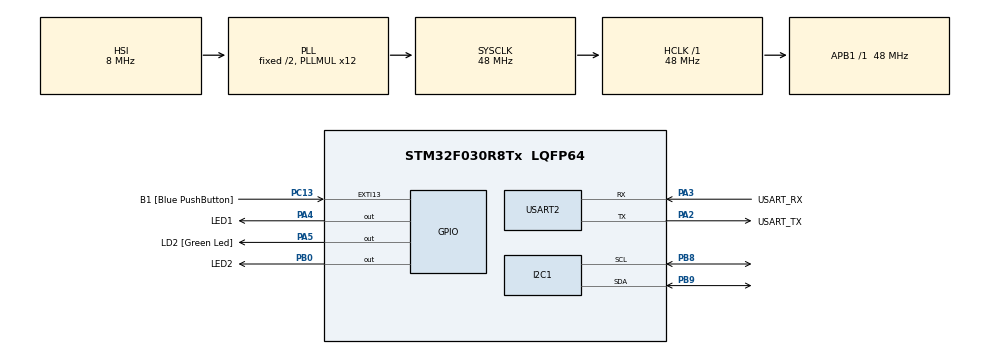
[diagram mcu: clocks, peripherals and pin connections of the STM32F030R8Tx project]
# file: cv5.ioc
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Dma.Request0=USART2_RX
Dma.USART2_RX.0.Direction=DMA_PERIPH_TO_MEMORY
Dma.USART2_RX.0.Instance=DMA1_Channel5
Dma.USART2_RX.0.MemDataAlignment=DMA_MDATAALIGN_BYTE
Dma.USART2_RX.0.MemInc=DMA_MINC_ENABLE
Dma.USART2_RX.0.Mode=DMA_CIRCULAR
Dma.USART2_RX.0.PeriphDataAlignment=DMA_PDATAALIGN_BYTE
Dma.USART2_RX.0.PeriphInc=DMA_PINC_DISABLE
Dma.USART2_RX.0.Priority=DMA_PRIORITY_LOW
I2C1.Timing=0x00201D2B
Mcu.Family=STM32F0
Mcu.Name=STM32F030R8Tx
Mcu.Package=LQFP64
NVIC.DMA1_Channel4_5_IRQn=true\:0\:0\:false\:false\:true\:false\:true\:true
PA13.GPIO_Label=TMS
PA13.Mode=Serial_Wire
PA13.Signal=SYS_SWDIO
PA14.GPIO_Label=TCK
PA14.Mode=Serial_Wire
PA14.Signal=SYS_SWCLK
PA2.GPIO_Label=USART_TX
PA2.GPIO_Mode=GPIO_MODE_AF_PP
PA2.GPIO_PuPd=GPIO_NOPULL
PA2.GPIO_Speed=GPIO_SPEED_FREQ_LOW
PA2.Mode=Asynchronous
PA2.Signal=USART2_TX
PA3.GPIO_Label=USART_RX
PA3.GPIO_Mode=GPIO_MODE_AF_PP
PA3.GPIO_PuPd=GPIO_NOPULL
PA3.GPIO_Speed=GPIO_SPEED_FREQ_LOW
PA3.Mode=Asynchronous
PA3.Signal=USART2_RX
PA4.GPIO_Label=LED1
PA4.Signal=GPIO_Output
PA5.GPIO_Label=LD2 [Green Led]
PA5.GPIO_Mode=GPIO_MODE_OUTPUT_PP
PA5.GPIO_PuPd=GPIO_NOPULL
PA5.GPIO_Speed=GPIO_SPEED_FREQ_LOW
PA5.Signal=GPIO_Output
PB0.GPIO_Label=LED2
PB0.Signal=GPIO_Output
PB8.Mode=I2C
PB8.Signal=I2C1_SCL
PB9.Mode=I2C
PB9.Signal=I2C1_SDA
PC13.GPIO_Label=B1 [Blue PushButton]
PC13.GPIO_ModeDefaultEXTI=GPIO_MODE_IT_FALLING
PC13.Signal=GPXTI13
PC14-OSC32_IN.Mode=LSE-External-Oscillator
PC14-OSC32_IN.Signal=RCC_OSC32_IN
PC15-OSC32_OUT.Mode=LSE-External-Oscillator
PC15-OSC32_OUT.Signal=RCC_OSC32_OUT
PF0-OSC_IN.Mode=HSE-External-Clock-Source
PF0-OSC_IN.Signal=RCC_OSC_IN
PF1-OSC_OUT.Signal=RCC_OSC_OUT
ProjectManager.HeapSize=0x200
ProjectManager.StackSize=0x400
ProjectManager.TargetToolchain=STM32CubeIDE
RCC.AHBFreq_Value=48000000
RCC.APB1Freq_Value=48000000
RCC.APB1TimFreq_Value=48000000
RCC.HCLKFreq_Value=48000000
RCC.PLLMUL=RCC_PLL_MUL12
RCC.SYSCLKFreq_VALUE=48000000
RCC.SYSCLKSource=RCC_SYSCLKSOURCE_PLLCLK
USART2.VirtualMode-Asynchronous=VM_ASYNC
board=NUCLEO-F030R8

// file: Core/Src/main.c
/* USER CODE BEGIN Header */
/**
  ******************************************************************************
  * @file           : main.c
  * @brief          : Main program body
  ******************************************************************************
  * @attention
  *
  * Copyright (c) 2024 STMicroelectronics.
  * All rights reserved.
  *
  * This software is licensed under terms that can be found in the LICENSE file
  * in the root directory of this software component.
  * If no LICENSE file comes with this software, it is provided AS-IS.
  *
  ******************************************************************************
  */
/* USER CODE END Header */
#include "main.h"

/* USER CODE BEGIN Includes */
#include <stdio.h>
#include <stdlib.h>
#include <string.h>
/* USER CODE END Includes */

/* USER CODE BEGIN PD */
#define RX_BUFFER_LEN 64
#define uart_rx_write_ptr (RX_BUFFER_LEN - hdma_usart2_rx.Instance->CNDTR)
#define CMD_BUFFER_LEN 256
#define EEPROM_ADDR 0xA0
//#define I2C_MEMADD_SIZE_16BIT
/* USER CODE END PD */

I2C_HandleTypeDef hi2c1;

UART_HandleTypeDef huart2;
DMA_HandleTypeDef hdma_usart2_rx;

/* USER CODE BEGIN PV */
static uint8_t uart_rx_buf[RX_BUFFER_LEN];
static volatile uint16_t uart_rx_read_ptr = 0;
//#define uart_rx_write_ptr (RX_BUFFER_LEN - hdma_usart2_rx.Instance->CNDTR)
/* USER CODE END PV */

void SystemClock_Config(void);
static void MX_GPIO_Init(void);
static void MX_DMA_Init(void);
static void MX_USART2_UART_Init(void);
static void MX_I2C1_Init(void);

/* USER CODE BEGIN 0 */
int _write(int file, char const *buf, int n)
{
	/* stdout redirection to UART2 */
	HAL_UART_Transmit(&huart2, (uint8_t*)(buf), n, HAL_MAX_DELAY);
	return n;
}

static void uart_process_command(char *cmd)
{
	static uint8_t value;
	static uint16_t addr = 2;
	char *token;
	token = strtok(cmd, " ");
	if (strcasecmp(token, "HELLO") == 0)
	{
		printf("Ahoj sjete!\n");
	}
	else if (strcasecmp(token, "LED1") == 0)
	{
		token = strtok(NULL, " ");
		if(strcasecmp(token, "ON")==0)
		{
			HAL_GPIO_WritePin(LED1_GPIO_Port, LED1_Pin, GPIO_PIN_SET);
		}
		else if(strcasecmp(token, "OFF")==0)
		{
			HAL_GPIO_WritePin(LED1_GPIO_Port, LED1_Pin, GPIO_PIN_RESET);
		}
		printf("OK\n");
	}
	else if (strcasecmp(token, "LED2") == 0)
	{
		token = strtok(NULL, " ");
		if(strcasecmp(token, "ON")==0)
		{
			HAL_GPIO_WritePin(LED2_GPIO_Port, LED2_Pin, GPIO_PIN_SET);
		}
		else if(strcasecmp(token, "OFF")==0)
		{
			HAL_GPIO_WritePin(LED2_GPIO_Port, LED2_Pin, GPIO_PIN_RESET);
		}
		printf("OK\n");
	}
	else if (strcasecmp(token, "STATUS") == 0)
	{
		token = strtok(NULL, " ");

		if(HAL_GPIO_ReadPin(LED1_GPIO_Port, LED1_Pin)==0)
		printf("LED1 OFF\n");
		else if(HAL_GPIO_ReadPin(LED1_GPIO_Port, LED1_Pin)==1)
		printf("LED1 ON\n");
		if(HAL_GPIO_ReadPin(LED2_GPIO_Port, LED2_Pin)==0)
		printf("LED2 OFF\n");
		else if(HAL_GPIO_ReadPin(LED2_GPIO_Port, LED2_Pin)==1)
		printf("LED2 ON\n");
	}
	/*else if (strcasecmp(token, "STATUS") == 0)
	{
		token = strtok(NULL, " ");

		if(HAL_GPIO_ReadPin(LED1_GPIO_Port, LED1_Pin)==0)
		printf("LED1 OFF\n");
		else if(HAL_GPIO_ReadPin(LED1_GPIO_Port, LED1_Pin)==1)
		printf("LED1 ON\n");
		if(HAL_GPIO_ReadPin(LED2_GPIO_Port, LED2_Pin)==0)
		printf("LED2 OFF\n");
		else if(HAL_GPIO_ReadPin(LED2_GPIO_Port, LED2_Pin)==1)
		printf("LED2 ON\n");
	}*/ //zapisovat hodnotu po hodnote
	else if (strcasecmp(token, "WRITE")==0)
	{
		token = strtok(NULL, " ");
		addr = atoi(token);
		token = strtok(NULL, " ");
		value = atoi(token);
		HAL_I2C_Mem_Write(&hi2c1, EEPROM_ADDR, addr, I2C_MEMADD_SIZE_16BIT, &value, sizeof(value), 1000);
		while (HAL_I2C_IsDeviceReady(&hi2c1, EEPROM_ADDR, 300, 1000) == HAL_TIMEOUT) {}
		printf("Zapsano: 0x%02X = 0x%02X\n", addr, value);
	}
	else if (strcasecmp(token, "READ")==0)
	{
		token = strtok(NULL, " ");
		addr = atoi(token);
		//char[20] read = HAL_I2C_Mem_Read(&hi2c1, EEPROM_ADDR, addr, I2C_MEMADD_SIZE_16BIT, &value, 1, 1000);
		HAL_I2C_Mem_Read(&hi2c1, EEPROM_ADDR, addr, I2C_MEMADD_SIZE_16BIT, &value, sizeof(value), 1000); //sizeof(value), timeout
		//printf("Ive read: %s\n", value);
		printf("Addr: 0x%02X = 0x%02X\n", addr, value);
	}
	else if (strcasecmp(token, "VYPIS")==0)
	{
		printf("Adresa: %d\n",addr);
	}
	else if (strcasecmp(token, "DUMP")==0)
	{
		for(uint8_t a = 0; a<16; a+=8) //kolik radku printnout = 16/8 = 2
		{
			for(uint8_t i = 0; i<8; i++) //kolik znaku printnout
			{
				HAL_I2C_Mem_Read(&hi2c1, EEPROM_ADDR, i+a, I2C_MEMADD_SIZE_16BIT, &value, sizeof(value), 1000); //sizeof(value), timeout
				printf("%02X ", value);
			}
			printf("\n");
		}//0 1  2  3  4  5  6  7
		 //8 9 10 11 12 13 14 15

	}
	/*//		token = strtok(NULL, " ");
	if(strcasecmp(token, "ON") == 0)
	{
		HAL_GPIO_WritePin(LED1_GPIO_Port, LED1_Pin, GPIO_PIN_SET);
	}
	else if(strcasecmp(token, "OFF")
	{

	}*/

	//printf("prijato: '%s'\n", cmd);
}

static void uart_byte_available(uint8_t c)
{
	static uint16_t cnt;
	static char data[CMD_BUFFER_LEN];
	if (cnt < CMD_BUFFER_LEN && c >= 32 && c <= 126) data[cnt++] = c; //jen citelne znaky 32 = 0 az z = 126

	if ((c == '\n' || c == '\r') && cnt > 0) // \n je odradkovani; \r - nektere mikrokontrolery ctou jenom jeden ze znaku
	{
		data[cnt] = '\0'; //zakoncit nulou
		uart_process_command(data);
		cnt = 0;
	}
}

/* USER CODE END 0 */

int main(void)
{

  /* MCU Configuration--------------------------------------------------------*/

  /* Reset of all peripherals, Initializes the Flash interface and the Systick. */
  HAL_Init();

  /* Configure the system clock */
  SystemClock_Config();

  /* Initialize all configured peripherals */
  MX_GPIO_Init();
  MX_DMA_Init();
  MX_USART2_UART_Init();
  MX_I2C1_Init();
  /* USER CODE BEGIN 2 */
  HAL_UART_Receive_DMA(&huart2, uart_rx_buf, RX_BUFFER_LEN);
  /* USER CODE END 2 */

  /* Infinite loop */
  while (1)
  {

    /* USER CODE BEGIN 3 */
	  while (uart_rx_read_ptr != uart_rx_write_ptr)
	  {
		  uint8_t b = uart_rx_buf[uart_rx_read_ptr];
		  if (++uart_rx_read_ptr >= RX_BUFFER_LEN) uart_rx_read_ptr = 0; // increase read pointer

		  uart_byte_available(b); // process every received byte with the RX state machine
	  }
  }
  /* USER CODE END 3 */
}

void SystemClock_Config(void)
{
  RCC_OscInitTypeDef RCC_OscInitStruct = {0};
  RCC_ClkInitTypeDef RCC_ClkInitStruct = {0};
  RCC_PeriphCLKInitTypeDef PeriphClkInit = {0};

  /** Initializes the RCC Oscillators according to the specified parameters
  * in the RCC_OscInitTypeDef structure.
  */
  RCC_OscInitStruct.OscillatorType = RCC_OSCILLATORTYPE_HSI;
  RCC_OscInitStruct.HSIState = RCC_HSI_ON;
  RCC_OscInitStruct.HSICalibrationValue = RCC_HSICALIBRATION_DEFAULT;
  RCC_OscInitStruct.PLL.PLLState = RCC_PLL_ON;
  RCC_OscInitStruct.PLL.PLLSource = RCC_PLLSOURCE_HSI;
  RCC_OscInitStruct.PLL.PLLMUL = RCC_PLL_MUL12;
  RCC_OscInitStruct.PLL.PREDIV = RCC_PREDIV_DIV1;
  if (HAL_RCC_OscConfig(&RCC_OscInitStruct) != HAL_OK)
  {
    Error_Handler();
  }

  /** Initializes the CPU, AHB and APB buses clocks
  */
  RCC_ClkInitStruct.ClockType = RCC_CLOCKTYPE_HCLK|RCC_CLOCKTYPE_SYSCLK
                              |RCC_CLOCKTYPE_PCLK1;
  RCC_ClkInitStruct.SYSCLKSource = RCC_SYSCLKSOURCE_PLLCLK;
  RCC_ClkInitStruct.AHBCLKDivider = RCC_SYSCLK_DIV1;
  RCC_ClkInitStruct.APB1CLKDivider = RCC_HCLK_DIV1;

  if (HAL_RCC_ClockConfig(&RCC_ClkInitStruct, FLASH_LATENCY_1) != HAL_OK)
  {
    Error_Handler();
  }
  PeriphClkInit.PeriphClockSelection = RCC_PERIPHCLK_I2C1;
  PeriphClkInit.I2c1ClockSelection = RCC_I2C1CLKSOURCE_HSI;
  if (HAL_RCCEx_PeriphCLKConfig(&PeriphClkInit) != HAL_OK)
  {
    Error_Handler();
  }
}

static void MX_I2C1_Init(void)
{

  hi2c1.Instance = I2C1;
  hi2c1.Init.Timing = 0x00201D2B;
  hi2c1.Init.OwnAddress1 = 0;
  hi2c1.Init.AddressingMode = I2C_ADDRESSINGMODE_7BIT;
  hi2c1.Init.DualAddressMode = I2C_DUALADDRESS_DISABLE;
  hi2c1.Init.OwnAddress2 = 0;
  hi2c1.Init.OwnAddress2Masks = I2C_OA2_NOMASK;
  hi2c1.Init.GeneralCallMode = I2C_GENERALCALL_DISABLE;
  hi2c1.Init.NoStretchMode = I2C_NOSTRETCH_DISABLE;
  if (HAL_I2C_Init(&hi2c1) != HAL_OK)
  {
    Error_Handler();
  }

  /** Configure Analogue filter
  */
  if (HAL_I2CEx_ConfigAnalogFilter(&hi2c1, I2C_ANALOGFILTER_ENABLE) != HAL_OK)
  {
    Error_Handler();
  }

  /** Configure Digital filter
  */
  if (HAL_I2CEx_ConfigDigitalFilter(&hi2c1, 0) != HAL_OK)
  {
    Error_Handler();
  }

}

static void MX_USART2_UART_Init(void)
{

  huart2.Instance = USART2;
  huart2.Init.BaudRate = 38400;
  huart2.Init.WordLength = UART_WORDLENGTH_8B;
  huart2.Init.StopBits = UART_STOPBITS_1;
  huart2.Init.Parity = UART_PARITY_NONE;
  huart2.Init.Mode = UART_MODE_TX_RX;
  huart2.Init.HwFlowCtl = UART_HWCONTROL_NONE;
  huart2.Init.OverSampling = UART_OVERSAMPLING_16;
  huart2.Init.OneBitSampling = UART_ONE_BIT_SAMPLE_DISABLE;
  huart2.AdvancedInit.AdvFeatureInit = UART_ADVFEATURE_NO_INIT;
  if (HAL_UART_Init(&huart2) != HAL_OK)
  {
    Error_Handler();
  }

}

static void MX_DMA_Init(void)
{

  /* DMA controller clock enable */
  __HAL_RCC_DMA1_CLK_ENABLE();

  /* DMA interrupt init */
  /* DMA1_Channel4_5_IRQn interrupt configuration */
  HAL_NVIC_SetPriority(DMA1_Channel4_5_IRQn, 0, 0);
  HAL_NVIC_EnableIRQ(DMA1_Channel4_5_IRQn);

}

static void MX_GPIO_Init(void)
{
  GPIO_InitTypeDef GPIO_InitStruct = {0};

  /* GPIO Ports Clock Enable */
  __HAL_RCC_GPIOC_CLK_ENABLE();
  __HAL_RCC_GPIOF_CLK_ENABLE();
  __HAL_RCC_GPIOA_CLK_ENABLE();
  __HAL_RCC_GPIOB_CLK_ENABLE();

  /*Configure GPIO pin Output Level */
  HAL_GPIO_WritePin(GPIOA, LED1_Pin|LD2_Pin, GPIO_PIN_RESET);

  /*Configure GPIO pin Output Level */
  HAL_GPIO_WritePin(LED2_GPIO_Port, LED2_Pin, GPIO_PIN_RESET);

  /*Configure GPIO pin : B1_Pin */
  GPIO_InitStruct.Pin = B1_Pin;
  GPIO_InitStruct.Mode = GPIO_MODE_IT_FALLING;
  GPIO_InitStruct.Pull = GPIO_NOPULL;
  HAL_GPIO_Init(B1_GPIO_Port, &GPIO_InitStruct);

  /*Configure GPIO pins : LED1_Pin LD2_Pin */
  GPIO_InitStruct.Pin = LED1_Pin|LD2_Pin;
  GPIO_InitStruct.Mode = GPIO_MODE_OUTPUT_PP;
  GPIO_InitStruct.Pull = GPIO_NOPULL;
  GPIO_InitStruct.Speed = GPIO_SPEED_FREQ_LOW;
  HAL_GPIO_Init(GPIOA, &GPIO_InitStruct);

  /*Configure GPIO pin : LED2_Pin */
  GPIO_InitStruct.Pin = LED2_Pin;
  GPIO_InitStruct.Mode = GPIO_MODE_OUTPUT_PP;
  GPIO_InitStruct.Pull = GPIO_NOPULL;
  GPIO_InitStruct.Speed = GPIO_SPEED_FREQ_LOW;
  HAL_GPIO_Init(LED2_GPIO_Port, &GPIO_InitStruct);

}

void Error_Handler(void)
{
  __disable_irq();
  while (1)
  {
  }
}
